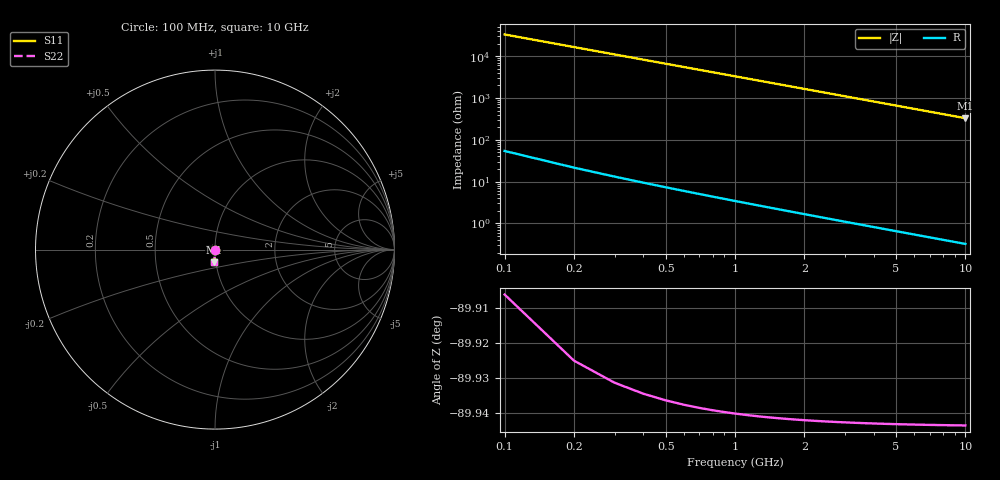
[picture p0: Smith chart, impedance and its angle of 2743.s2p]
# Hz S RI R 50.00
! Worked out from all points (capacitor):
!   100 points, 100 MHz to 10 GHz, reference 50 ohm
!   read as one part in shunt: C = 48.3 fF near 100 MHz
!   lowest |Z| = 328 ohm at 10 GHz (marker M1)
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1e8  2.03e-05 -0.000718  1 -0.000799  1 -0.000799  2.03e-05 -0.000718
2e8  1.8e-05 -0.00144  1 -0.0016  1 -0.0016  1.8e-05 -0.00144
3e8  1.45e-05 -0.00216  1 -0.0024  1 -0.0024  1.45e-05 -0.00216
4e8  9.87e-06 -0.00287  1 -0.00319  1 -0.00319  9.87e-06 -0.00287
5e8  4.04e-06 -0.00359  1 -0.00399  1 -0.00399  4.04e-06 -0.00359
6e8  -2.95e-06 -0.00431  1 -0.00479  1 -0.00479  -2.95e-06 -0.00431
7e8  -1.11e-05 -0.00503  0.9999 -0.00559  0.9999 -0.00559  -1.11e-05 -0.00503
8e8  -2.04e-05 -0.00575  0.9999 -0.00639  0.9999 -0.00639  -2.04e-05 -0.00575
9e8  -3.08e-05 -0.00647  0.9999 -0.00719  0.9999 -0.00719  -3.08e-05 -0.00647
1.1e9  -5.52e-05 -0.0079  0.9999 -0.00879  0.9999 -0.00879  -5.52e-05 -0.0079
1.4e9  -0.0001 -0.0101  0.9999 -0.0112  0.9999 -0.0112  -0.0001 -0.0101
1.8e9  -0.000177 -0.0129  0.9998 -0.0144  0.9998 -0.0144  -0.000177 -0.0129
2.1e9  -0.000246 -0.0151  0.9997 -0.0168  0.9997 -0.0168  -0.000246 -0.0151
2.5e9  -0.000355 -0.018  0.9996 -0.02  0.9996 -0.02  -0.000355 -0.018
2.9e9  -0.000482 -0.0208  0.9995 -0.0232  0.9995 -0.0232  -0.000482 -0.0208
3.4e9  -0.000666 -0.0244  0.9993 -0.0272  0.9993 -0.0272  -0.000666 -0.0244
4.2e9  -0.00102 -0.0302  0.9989 -0.0336  0.9989 -0.0336  -0.00102 -0.0302
5.1e9  -0.00151 -0.0367  0.9984 -0.0408  0.9984 -0.0408  -0.00151 -0.0367
5.9e9  -0.00202 -0.0424  0.9979 -0.0472  0.9979 -0.0472  -0.00202 -0.0424
6.7e9  -0.00261 -0.0481  0.9973 -0.0535  0.9973 -0.0535  -0.00261 -0.0481
8.4e9  -0.0041 -0.0603  0.9958 -0.0671  0.9958 -0.0671  -0.0041 -0.0603
1e10  -0.00581 -0.0718  0.9941 -0.0799  0.9941 -0.0799  -0.00581 -0.0718
